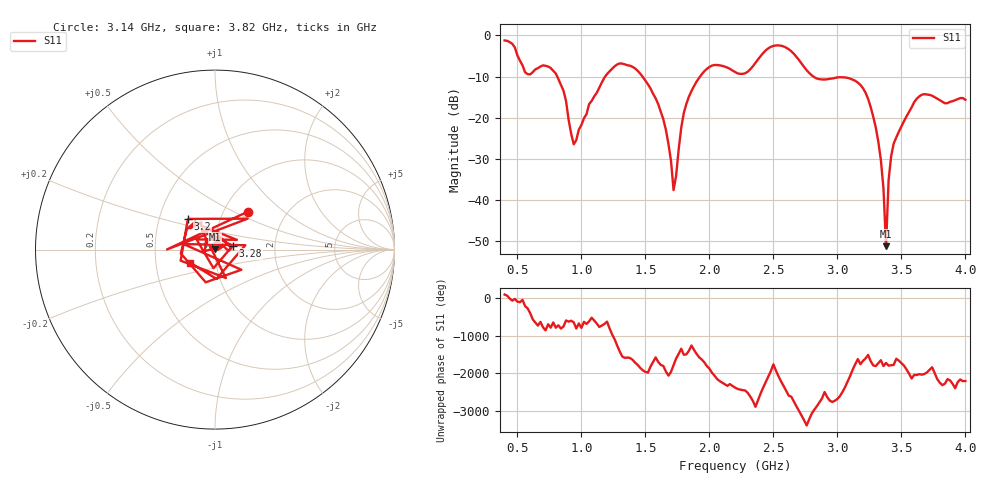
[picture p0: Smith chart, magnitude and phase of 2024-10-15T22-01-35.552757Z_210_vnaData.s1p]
! Created with skrf (http://scikit-rf.org).
# Hz S RI R 50.0
!freq ReS11 ImS11
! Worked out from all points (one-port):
!   181 points, 400 MHz to 4 GHz, reference 50 ohm
!   lowest |S11| = -51.2 dB at 3.38 GHz (marker M1), VSWR 1.01, Z = 50.1 + j0.268 ohm
!   |S11| at or under -10 dB: 811.2 MHz to 1.185 GHz (374.3 MHz wide, 37.5 % of centre); 1.478 GHz to 1.927 GHz (449.2 MHz wide, 26.4 % of centre); 2.813 GHz to end of sweep
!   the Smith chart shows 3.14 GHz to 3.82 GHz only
!   S11 on the Smith chart (normalised r, x): 3.14 GHz: 1.30, +0.60; 3.2 GHz: 0.70, +0.25; 3.28 GHz: 1.22, +0.05; 3.82 GHz: 0.75, -0.11
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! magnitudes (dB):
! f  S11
! 400 MHz  -1.2
! 560 MHz  -8.9
! 740 MHz  -7.6
! 860 MHz  -13.4
! 940 MHz  -26.5
! 1.3 GHz  -6.8
! 1.6 GHz  -16.7
! 1.68 GHz  -26.4
! 1.72 GHz  -37.6
! 1.76 GHz  -27.7
! 1.82 GHz  -16.6
! 1.92 GHz  -10.3
! 2.2 GHz  -8.9
! 2.5 GHz  -2.5
! 2.66 GHz  -4.5
! 2.84 GHz  -10.5
! 3.1 GHz  -10.5
! 3.14 GHz  -11.0
! 3.2 GHz  -12.8
! 3.28 GHz  -19.8
! 3.34 GHz  -30.4
! 3.36 GHz  -37.2
! 3.38 GHz  -51.2
! 3.4 GHz  -35.2
! 3.42 GHz  -29.4
! 3.56 GHz  -18.6
! 3.82 GHz  -16.1
! 4 GHz  -15.6
